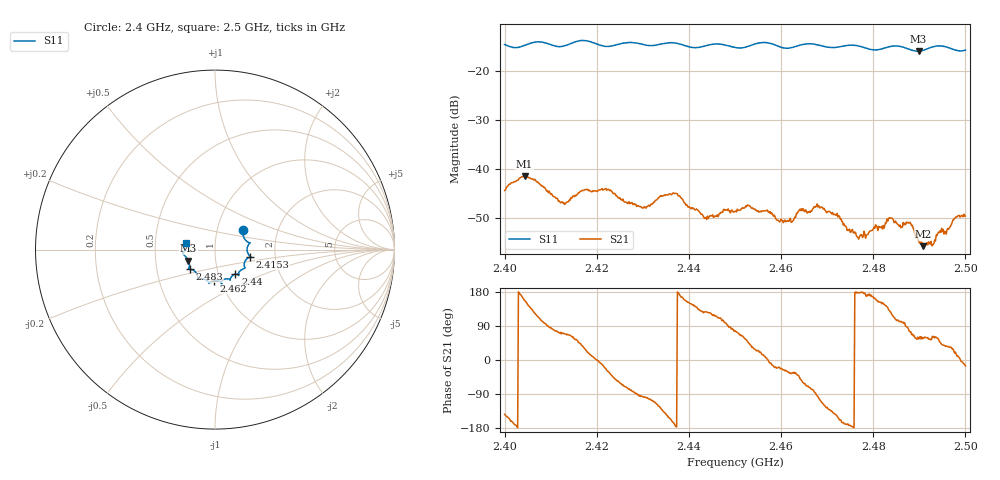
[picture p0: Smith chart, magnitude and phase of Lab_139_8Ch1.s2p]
# Hz S RI R 50
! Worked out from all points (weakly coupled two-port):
!   601 points, 2.4 GHz to 2.5 GHz, reference 50 ohm
!   highest |S21| = -41.49 dB at 2.4043 GHz (marker M1); lowest = -55.8 dB at 2.4908 GHz (marker M2)
!   lowest |S11| = -15.9 dB at 2.4898 GHz (marker M3), VSWR 1.38, Z = 36.8 - j4.62 ohm
!   |S11| at or under -10 dB: start of sweep to end of sweep
!   S12 and S22 are empty: the file has one direction only
!   S11 on the Smith chart (normalised r, x): 2.4 GHz: 1.33, +0.29; 2.4153 GHz: 1.48, -0.12; 2.44 GHz: 1.20, -0.34; 2.462 GHz: 0.93, -0.33; 2.483 GHz: 0.74, -0.17; 2.5 GHz: 0.72, +0.06
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2.4e9  0.1549 0.1066  -0.00484 -0.00359  0 0  0 0
2.404333e9  0.1782 0.045  -0.00776 0.00327  0 0  0 0
2.412667e9  0.1798 -0.0103  0.00143 0.00423  0 0  0 0
2.415333e9  0.1963 -0.0387  0.00319 0.00433  0 0  0 0
2.416667e9  0.2019 -0.0427  0.00465 0.00377  0 0  0 0
2.4225e9  0.1651 -0.0702  0.00535 -0.00313  0 0  0 0
2.430167e9  0.1512 -0.1106  -0.00049 -0.00397  0 0  0 0
2.433333e9  0.1311 -0.1337  -0.00262 -0.00431  0 0  0 0
2.437e9  0.1319 -0.1435  -0.00558 -0.000732  0 0  0 0
2.44e9  0.1139 -0.1367  -0.00359 0.00194  0 0  0 0
2.443833e9  0.0862 -0.1619  -0.00184 0.00243  0 0  0 0
2.45e9  0.0647 -0.1626  0.000803 0.00357  0 0  0 0
2.462e9  -0.00523 -0.1731  0.00254 -0.00183  0 0  0 0
2.466667e9  -0.0342 -0.1876  0.000809 -0.00363  0 0  0 0
2.472167e9  -0.0715 -0.161  -0.00298 -0.00184  0 0  0 0
2.476833e9  -0.0957 -0.1541  -0.00191 9.56e-05  0 0  0 0
2.483e9  -0.1376 -0.1095  -0.00238 0.00196  0 0  0 0
2.483333e9  -0.1401 -0.1093  -0.00208 0.00231  0 0  0 0
2.488e9  -0.1424 -0.0863  0.000765 0.00274  0 0  0 0
2.489833e9  -0.1484 -0.0611  0.00105 0.00153  0 0  0 0
2.490833e9  -0.1569 -0.0475  0.000836 0.00139  0 0  0 0
2.5e9  -0.1598 0.039  0.00317 -0.000887  0 0  0 0
